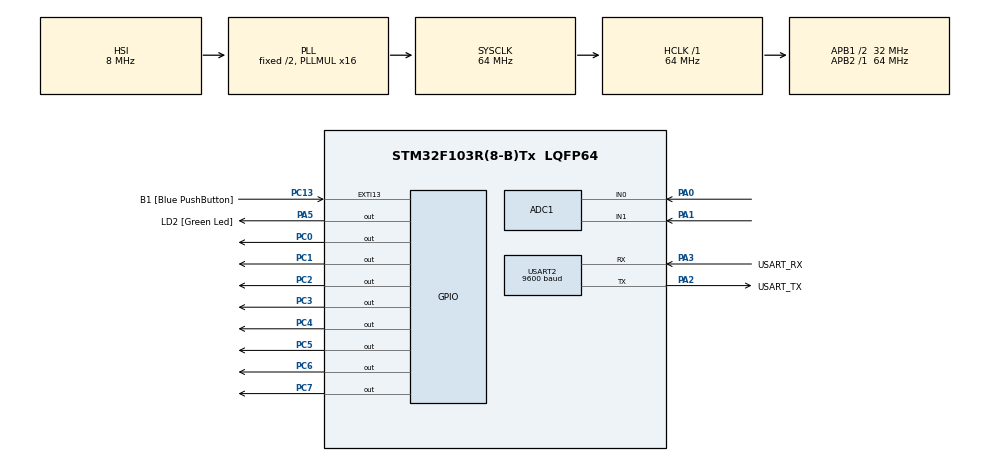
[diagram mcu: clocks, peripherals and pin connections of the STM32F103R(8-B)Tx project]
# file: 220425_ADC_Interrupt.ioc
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ADC1.Channel-10\#ChannelRegularConversion=ADC_CHANNEL_1
ADC1.Channel-9\#ChannelRegularConversion=ADC_CHANNEL_0
ADC1.NbrOfConversion=2
ADC1.NbrOfConversionFlag=1
ADC1.Rank-10\#ChannelRegularConversion=2
ADC1.Rank-9\#ChannelRegularConversion=1
ADC1.SamplingTime-10\#ChannelRegularConversion=ADC_SAMPLETIME_239CYCLES_5
ADC1.SamplingTime-9\#ChannelRegularConversion=ADC_SAMPLETIME_239CYCLES_5
ADC1.master=1
Mcu.Family=STM32F1
Mcu.Name=STM32F103R(8-B)Tx
Mcu.Package=LQFP64
NVIC.EXTI15_10_IRQn=true\:0\:0\:false\:false\:true\:true\:true\:true
NVIC.PriorityGroup=NVIC_PRIORITYGROUP_4
PA0-WKUP.Signal=ADCx_IN0
PA1.Signal=ADCx_IN1
PA13.GPIO_Label=TMS
PA13.Mode=Serial_Wire
PA13.Signal=SYS_JTMS-SWDIO
PA14.GPIO_Label=TCK
PA14.Mode=Serial_Wire
PA14.Signal=SYS_JTCK-SWCLK
PA2.GPIO_Label=USART_TX
PA2.GPIO_Mode=GPIO_MODE_AF_PP
PA2.GPIO_PuPd=GPIO_NOPULL
PA2.GPIO_Speed=GPIO_SPEED_FREQ_LOW
PA2.Mode=Asynchronous
PA2.Signal=USART2_TX
PA3.GPIO_Label=USART_RX
PA3.GPIO_Mode=GPIO_MODE_AF_PP
PA3.GPIO_PuPd=GPIO_NOPULL
PA3.GPIO_Speed=GPIO_SPEED_FREQ_LOW
PA3.Mode=Asynchronous
PA3.Signal=USART2_RX
PA5.GPIO_Label=LD2 [Green Led]
PA5.GPIO_ModeDefaultOutputPP=GPIO_MODE_OUTPUT_PP
PA5.GPIO_PuPd=GPIO_NOPULL
PA5.GPIO_Speed=GPIO_SPEED_FREQ_LOW
PA5.Signal=GPIO_Output
PB3.GPIO_Label=SWO
PB3.Signal=SYS_JTDO-TRACESWO
PC0.Signal=GPIO_Output
PC1.Signal=GPIO_Output
PC13-TAMPER-RTC.GPIO_Label=B1 [Blue PushButton]
PC13-TAMPER-RTC.GPIO_PuPd=GPIO_NOPULL
PC13-TAMPER-RTC.Signal=GPXTI13
PC14-OSC32_IN.Mode=LSE-External-Oscillator
PC14-OSC32_IN.Signal=RCC_OSC32_IN
PC15-OSC32_OUT.Mode=LSE-External-Oscillator
PC15-OSC32_OUT.Signal=RCC_OSC32_OUT
PC2.Signal=GPIO_Output
PC3.Signal=GPIO_Output
PC4.Signal=GPIO_Output
PC5.Signal=GPIO_Output
PC6.Signal=GPIO_Output
PC7.Signal=GPIO_Output
PD0-OSC_IN.Mode=HSE-External-Clock-Source
PD0-OSC_IN.Signal=RCC_OSC_IN
PD1-OSC_OUT.Mode=HSE-External-Clock-Source
PD1-OSC_OUT.Signal=RCC_OSC_OUT
ProjectManager.HeapSize=0x200
ProjectManager.StackSize=0x400
ProjectManager.TargetToolchain=STM32CubeIDE
RCC.ADCPresc=RCC_ADCPCLK2_DIV8
RCC.AHBFreq_Value=64000000
RCC.APB1CLKDivider=RCC_HCLK_DIV2
RCC.APB1Freq_Value=32000000
RCC.APB1TimFreq_Value=64000000
RCC.APB2Freq_Value=64000000
RCC.APB2TimFreq_Value=64000000
RCC.HCLKFreq_Value=64000000
RCC.PLLMUL=RCC_PLL_MUL16
RCC.RTCClockSelection=RCC_RTCCLKSOURCE_LSE
RCC.SYSCLKFreq_VALUE=64000000
RCC.SYSCLKSource=RCC_SYSCLKSOURCE_PLLCLK
RCC.USBFreq_Value=64000000
SH.ADCx_IN0.0=ADC1_IN0,IN0
SH.ADCx_IN1.0=ADC1_IN1,IN1
USART2.BaudRate=9600
USART2.VirtualMode=VM_ASYNC
board=NUCLEO-F103RB

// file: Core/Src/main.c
/* USER CODE BEGIN Header */
/**
 ******************************************************************************
 * @file           : main.c
 * @brief          : Main program body
 ******************************************************************************
 * @attention
 *
 * Copyright (c) 2022 STMicroelectronics.
 * All rights reserved.
 *
 * This software is licensed under terms that can be found in the LICENSE file
 * in the root directory of this software component.
 * If no LICENSE file comes with this software, it is provided AS-IS.
 *
 ******************************************************************************
 */
/* USER CODE END Header */
#include "main.h"

/* USER CODE BEGIN Includes */
#include <stdio.h>
/* USER CODE END Includes */

 ADC_HandleTypeDef hadc1;

UART_HandleTypeDef huart2;

/* USER CODE BEGIN PV */
int adc_val = 0;
int delay_time = 0;
float temp = 0;
/* USER CODE END PV */

void SystemClock_Config(void);
static void MX_GPIO_Init(void);
static void MX_USART2_UART_Init(void);
static void MX_ADC1_Init(void);
/* USER CODE BEGIN PFP */
#ifdef __GNUC__
/* With GCC, small printf (option LD Linker->Libraries->Small printf
 set to 'Yes') calls __io_putchar() */
#define PUTCHAR_PROTOTYPE int __io_putchar(int ch)
#else
#define PUTCHAR_PROTOTYPE int fputc(int ch, FILE *f)
#endif /* __GNUC__ */
PUTCHAR_PROTOTYPE {
	/* Place your implementation of fputc here */
	/* e.g. write a character to the USART1 and Loop until the end of transmission */
	HAL_UART_Transmit(&huart2, (uint8_t*) &ch, 1, 0xFFFF);

	return ch;
}
/* USER CODE END PFP */

int main(void)
{

  /* MCU Configuration--------------------------------------------------------*/

  /* Reset of all peripherals, Initializes the Flash interface and the Systick. */
  HAL_Init();

  /* Configure the system clock */
  SystemClock_Config();

  /* Initialize all configured peripherals */
  MX_GPIO_Init();
  MX_USART2_UART_Init();
  MX_ADC1_Init();
  /* USER CODE BEGIN 2 */
	HAL_ADC_Start_IT(&hadc1);
  /* USER CODE END 2 */

  /* Infinite loop */
  /* USER CODE BEGIN WHILE */
	while (1) {
		HAL_Delay(500);
		temp = adc_val*500.0/4096.0; //use LM35DZ, measure temperature
		//temp = (5*adc_val*100)>>12;
		printf("ADC value = %d\n\r", adc_val);
		printf("present temperature = %.3f\n\r", temp);
    /* USER CODE END WHILE */

	}
}

void SystemClock_Config(void)
{
  RCC_OscInitTypeDef RCC_OscInitStruct = {0};
  RCC_ClkInitTypeDef RCC_ClkInitStruct = {0};
  RCC_PeriphCLKInitTypeDef PeriphClkInit = {0};

  /** Initializes the RCC Oscillators according to the specified parameters
  * in the RCC_OscInitTypeDef structure.
  */
  RCC_OscInitStruct.OscillatorType = RCC_OSCILLATORTYPE_HSI;
  RCC_OscInitStruct.HSIState = RCC_HSI_ON;
  RCC_OscInitStruct.HSICalibrationValue = RCC_HSICALIBRATION_DEFAULT;
  RCC_OscInitStruct.PLL.PLLState = RCC_PLL_ON;
  RCC_OscInitStruct.PLL.PLLSource = RCC_PLLSOURCE_HSI_DIV2;
  RCC_OscInitStruct.PLL.PLLMUL = RCC_PLL_MUL16;
  if (HAL_RCC_OscConfig(&RCC_OscInitStruct) != HAL_OK)
  {
    Error_Handler();
  }

  /** Initializes the CPU, AHB and APB buses clocks
  */
  RCC_ClkInitStruct.ClockType = RCC_CLOCKTYPE_HCLK|RCC_CLOCKTYPE_SYSCLK
                              |RCC_CLOCKTYPE_PCLK1|RCC_CLOCKTYPE_PCLK2;
  RCC_ClkInitStruct.SYSCLKSource = RCC_SYSCLKSOURCE_PLLCLK;
  RCC_ClkInitStruct.AHBCLKDivider = RCC_SYSCLK_DIV1;
  RCC_ClkInitStruct.APB1CLKDivider = RCC_HCLK_DIV2;
  RCC_ClkInitStruct.APB2CLKDivider = RCC_HCLK_DIV1;

  if (HAL_RCC_ClockConfig(&RCC_ClkInitStruct, FLASH_LATENCY_2) != HAL_OK)
  {
    Error_Handler();
  }
  PeriphClkInit.PeriphClockSelection = RCC_PERIPHCLK_ADC;
  PeriphClkInit.AdcClockSelection = RCC_ADCPCLK2_DIV8;
  if (HAL_RCCEx_PeriphCLKConfig(&PeriphClkInit) != HAL_OK)
  {
    Error_Handler();
  }
}

static void MX_ADC1_Init(void)
{

  ADC_ChannelConfTypeDef sConfig = {0};

  /** Common config
  */
  hadc1.Instance = ADC1;
  hadc1.Init.ScanConvMode = ADC_SCAN_ENABLE;
  hadc1.Init.ContinuousConvMode = DISABLE;
  hadc1.Init.DiscontinuousConvMode = DISABLE;
  hadc1.Init.ExternalTrigConv = ADC_SOFTWARE_START;
  hadc1.Init.DataAlign = ADC_DATAALIGN_RIGHT;
  hadc1.Init.NbrOfConversion = 2;
  if (HAL_ADC_Init(&hadc1) != HAL_OK)
  {
    Error_Handler();
  }

  /** Configure Regular Channel
  */
  sConfig.Channel = ADC_CHANNEL_0;
  sConfig.Rank = ADC_REGULAR_RANK_1;
  sConfig.SamplingTime = ADC_SAMPLETIME_239CYCLES_5;
  if (HAL_ADC_ConfigChannel(&hadc1, &sConfig) != HAL_OK)
  {
    Error_Handler();
  }

  /** Configure Regular Channel
  */
  sConfig.Channel = ADC_CHANNEL_1;
  sConfig.Rank = ADC_REGULAR_RANK_2;
  if (HAL_ADC_ConfigChannel(&hadc1, &sConfig) != HAL_OK)
  {
    Error_Handler();
  }

}

static void MX_USART2_UART_Init(void)
{

  huart2.Instance = USART2;
  huart2.Init.BaudRate = 9600;
  huart2.Init.WordLength = UART_WORDLENGTH_8B;
  huart2.Init.StopBits = UART_STOPBITS_1;
  huart2.Init.Parity = UART_PARITY_NONE;
  huart2.Init.Mode = UART_MODE_TX_RX;
  huart2.Init.HwFlowCtl = UART_HWCONTROL_NONE;
  huart2.Init.OverSampling = UART_OVERSAMPLING_16;
  if (HAL_UART_Init(&huart2) != HAL_OK)
  {
    Error_Handler();
  }

}

static void MX_GPIO_Init(void)
{
  GPIO_InitTypeDef GPIO_InitStruct = {0};

  /* GPIO Ports Clock Enable */
  __HAL_RCC_GPIOC_CLK_ENABLE();
  __HAL_RCC_GPIOD_CLK_ENABLE();
  __HAL_RCC_GPIOA_CLK_ENABLE();
  __HAL_RCC_GPIOB_CLK_ENABLE();

  /*Configure GPIO pin Output Level */
  HAL_GPIO_WritePin(GPIOC, GPIO_PIN_0|GPIO_PIN_1|GPIO_PIN_2|GPIO_PIN_3
                          |GPIO_PIN_4|GPIO_PIN_5|GPIO_PIN_6|GPIO_PIN_7, GPIO_PIN_RESET);

  /*Configure GPIO pin Output Level */
  HAL_GPIO_WritePin(LD2_GPIO_Port, LD2_Pin, GPIO_PIN_RESET);

  /*Configure GPIO pin : B1_Pin */
  GPIO_InitStruct.Pin = B1_Pin;
  GPIO_InitStruct.Mode = GPIO_MODE_IT_RISING;
  GPIO_InitStruct.Pull = GPIO_NOPULL;
  HAL_GPIO_Init(B1_GPIO_Port, &GPIO_InitStruct);

  /*Configure GPIO pins : PC0 PC1 PC2 PC3
                           PC4 PC5 PC6 PC7 */
  GPIO_InitStruct.Pin = GPIO_PIN_0|GPIO_PIN_1|GPIO_PIN_2|GPIO_PIN_3
                          |GPIO_PIN_4|GPIO_PIN_5|GPIO_PIN_6|GPIO_PIN_7;
  GPIO_InitStruct.Mode = GPIO_MODE_OUTPUT_PP;
  GPIO_InitStruct.Pull = GPIO_NOPULL;
  GPIO_InitStruct.Speed = GPIO_SPEED_FREQ_LOW;
  HAL_GPIO_Init(GPIOC, &GPIO_InitStruct);

  /*Configure GPIO pin : LD2_Pin */
  GPIO_InitStruct.Pin = LD2_Pin;
  GPIO_InitStruct.Mode = GPIO_MODE_OUTPUT_PP;
  GPIO_InitStruct.Pull = GPIO_NOPULL;
  GPIO_InitStruct.Speed = GPIO_SPEED_FREQ_LOW;
  HAL_GPIO_Init(LD2_GPIO_Port, &GPIO_InitStruct);

  /* EXTI interrupt init*/
  HAL_NVIC_SetPriority(EXTI15_10_IRQn, 0, 0);
  HAL_NVIC_EnableIRQ(EXTI15_10_IRQn);

}

/* USER CODE BEGIN 4 */
void HAL_ADC_ConvCpltCallback(ADC_HandleTypeDef *hadc) {
	adc_val = (uint16_t) HAL_ADC_GetValue(&hadc1);
}
/* USER CODE END 4 */

void Error_Handler(void)
{
	__disable_irq();
	while (1) {
	}
}
